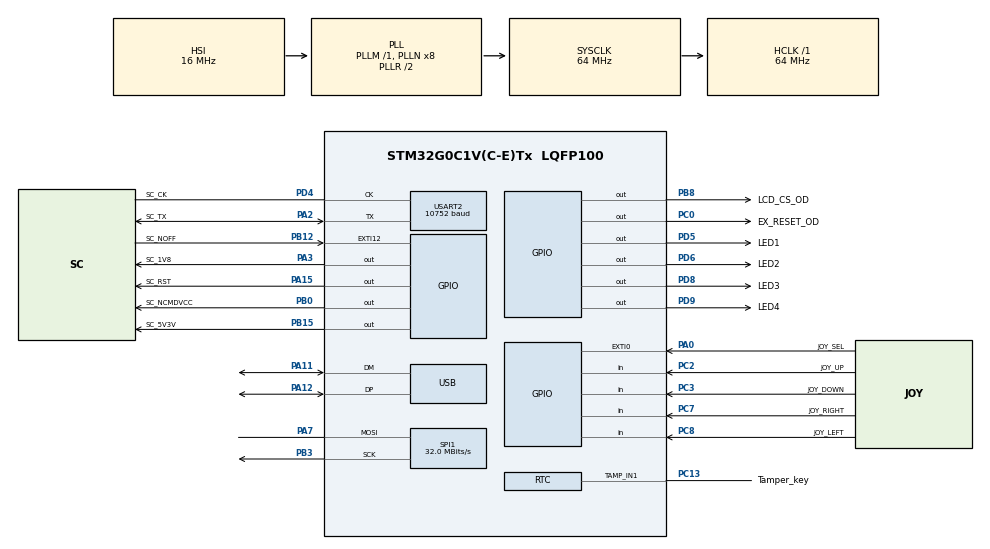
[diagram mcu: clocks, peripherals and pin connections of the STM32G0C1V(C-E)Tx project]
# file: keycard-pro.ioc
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AES.Algorithm=CRYP_AES_CBC
AES.DataType=CRYP_DATATYPE_8B
AES.DataWidthUnit=CRYP_DATAWIDTHUNIT_BYTE
AES.Header=__NULL
AES.HeaderWidthUnit=CRYP_HEADERWIDTHUNIT_BYTE
AES.KeySize=CRYP_KEYSIZE_256B
Mcu.Family=STM32G0
Mcu.Name=STM32G0C1V(C-E)Tx
Mcu.Package=LQFP100
NVIC.EXTI4_15_IRQn=true\:0\:0\:false\:false\:true\:true\:true\:true
NVIC.USART2_LPUART2_IRQn=true\:0\:0\:false\:false\:true\:true\:false\:true
NVIC.USB_UCPD1_2_IRQn=true\:0\:0\:false\:false\:true\:true\:true\:true
PA0.GPIO_Label=JOY_SEL
PA0.Signal=GPXTI0
PA11\ [PA9].Mode=Device
PA11\ [PA9].Signal=USB_DM
PA12\ [PA10].Mode=Device
PA12\ [PA10].Signal=USB_DP
PA13.Mode=Serial_Wire
PA13.Signal=SYS_SWDIO
PA14-BOOT0.Mode=Serial_Wire
PA14-BOOT0.Signal=SYS_SWCLK
PA15.GPIO_Label=SC_RST
PA15.GPIO_Speed=GPIO_SPEED_FREQ_HIGH
PA15.PinState=GPIO_PIN_SET
PA15.Signal=GPIO_Output
PA2.GPIO_Label=SC_TX
PA2.GPIO_Speed=GPIO_SPEED_FREQ_HIGH
PA2.Mode=SmartCard_With_Clock
PA2.Signal=USART2_TX
PA3.GPIO_Label=SC_1V8
PA3.GPIO_Speed=GPIO_SPEED_FREQ_MEDIUM
PA3.Signal=GPIO_Output
PA7.Mode=Simplex_Bidirectional_Master
PA7.Signal=SPI1_MOSI
PB0.GPIO_Label=SC_NCMDVCC
PB0.GPIO_Speed=GPIO_SPEED_FREQ_MEDIUM
PB0.PinState=GPIO_PIN_SET
PB0.Signal=GPIO_Output
PB12.GPIO_Label=SC_NOFF
PB12.GPIO_ModeDefaultEXTI=GPIO_MODE_IT_RISING_FALLING
PB12.Signal=GPXTI12
PB15.GPIO_Label=SC_5V3V
PB15.GPIO_Speed=GPIO_SPEED_FREQ_MEDIUM
PB15.PinState=GPIO_PIN_SET
PB15.Signal=GPIO_Output
PB3.Mode=Simplex_Bidirectional_Master
PB3.Signal=SPI1_SCK
PB8.GPIO_Label=LCD_CS_OD
PB8.GPIO_ModeDefaultOutputPP=GPIO_MODE_OUTPUT_OD
PB8.Signal=GPIO_Output
PC0.GPIO_Label=EX_RESET_OD
PC0.GPIO_ModeDefaultOutputPP=GPIO_MODE_OUTPUT_OD
PC0.Signal=GPIO_Output
PC13.GPIO_Label=Tamper_key
PC13.Mode=Tamper 1 enabled
PC13.Signal=RTC_TAMP_IN1
PC14-OSC32_IN\ (PC14).Mode=LSE-External-Oscillator
PC14-OSC32_IN\ (PC14).Signal=RCC_OSC32_IN
PC15-OSC32_OUT\ (PC15).Mode=LSE-External-Oscillator
PC15-OSC32_OUT\ (PC15).Signal=RCC_OSC32_OUT
PC2.GPIO_Label=JOY_UP
PC2.Signal=GPIO_Input
PC3.GPIO_Label=JOY_DOWN
PC3.Signal=GPIO_Input
PC7.GPIO_Label=JOY_RIGHT
PC7.Signal=GPIO_Input
PC8.GPIO_Label=JOY_LEFT
PC8.Signal=GPIO_Input
PD4.GPIO_Label=SC_CK
PD4.GPIO_Speed=GPIO_SPEED_FREQ_HIGH
PD4.Mode=SmartCard_With_Clock
PD4.Signal=USART2_CK
PD5.GPIO_Label=LED1
PD5.Signal=GPIO_Output
PD6.GPIO_Label=LED2
PD6.Signal=GPIO_Output
PD8.GPIO_Label=LED3
PD8.Signal=GPIO_Output
PD9.GPIO_Label=LED4
PD9.Signal=GPIO_Output
PF0-OSC_IN\ (PF0).Mode=HSE-External-Oscillator
PF0-OSC_IN\ (PF0).Signal=RCC_OSC_IN
PF1-OSC_OUT\ (PF1).Mode=HSE-External-Oscillator
PF1-OSC_OUT\ (PF1).Signal=RCC_OSC_OUT
ProjectManager.HeapSize=0x200
ProjectManager.StackSize=0x400
ProjectManager.TargetToolchain=Makefile
RCC.ADCFreq_Value=64000000
RCC.AHBFreq_Value=64000000
RCC.CortexFreq_Value=64000000
RCC.EXTERNAL_CLOCK_VALUE=48000
RCC.HCLKFreq_Value=64000000
RCC.HSE_VALUE=8000000
RCC.HSI48_VALUE=48000000
RCC.HSI_VALUE=16000000
RCC.SYSCLKFreq_VALUE=64000000
RCC.SYSCLKSource=RCC_SYSCLKSOURCE_PLLCLK
RCC.USBFreq_Value=48000000
RCC.VCOOutputFreq_Value=128000000
SPI1.CalculateBaudRate=32.0 MBits/s
SPI1.Direction=SPI_DIRECTION_1LINE
SPI1.Mode=SPI_MODE_MASTER
SPI1.VirtualType=VM_MASTER
TIM6.AutoReloadPreload=TIM_AUTORELOAD_PRELOAD_ENABLE
TIM6.Prescaler=(HAL_RCC_GetHCLKFreq() / 1000000)
USART2.AutoRetryCount=3
USART2.BaudRate=10752
USART2.CLKLastBit=SMARTCARD_LASTBIT_ENABLE
USART2.DMADisableonRxErrorParam=ADVFEATURE_DMA_ENABLEONRXERROR
USART2.GuardTime=0
USART2.NACKState=SMARTCARD_NACK_ENABLE
USART2.OneBitSampling=SMARTCARD_ONE_BIT_SAMPLE_DISABLE
USART2.OverrunDisableParam=ADVFEATURE_OVERRUN_DISABLE
USART2.Prescaler=8
USART2.StopBits=STOPBITS_1_5
USART2.TimeOutEnable=SMARTCARD_TIMEOUT_ENABLE
USART2.TimeOutValue=9600
USART2.VirtualClockMode=VM_SMARTCARD
USART2.VirtualMode-SmartCard_With_Clock=VM_SMARTCARD
USB_DEVICE.CLASS_NAME_FS=CUSTOM_HID
USB_DEVICE.CONFIGURATION_STRING_CUSTOMHID_FS=Keycard Pro Conf
USB_DEVICE.CUSTOM_HID_FS_BINTERVAL=20
USB_DEVICE.INTERFACE_STRING_CUSTOMHID_FS=Keycard Pro IF
USB_DEVICE.MANUFACTURER_STRING=Status
USB_DEVICE.PRODUCT_STRING_CUSTOMHID_FS=Keycard Pro
USB_DEVICE.USBD_CUSTOMHID_OUTREPORT_BUF_SIZE=64
USB_DEVICE.USBD_CUSTOM_HID_REPORT_DESC_SIZE=64
USB_DEVICE.USBD_MAX_STR_DESC_SIZ=128
USB_DEVICE.USBD_SELF_POWERED=0
USB_DEVICE.VirtualMode=CustomHid
USB_DEVICE.VirtualModeFS=Custom_Hid_FS
VP_AES_VS_AES.Mode=AES_Activate
VP_RNG_VS_RNG.Mode=RNG_Activate
VP_RTC_VS_RTC_Activate.Mode=RTC_Enabled
VP_SYS_VS_DBSignals.Mode=DisableDeadBatterySignals
VP_TIM6_VS_ClockSourceINT.Mode=Enable_Timer
VP_USB_DEVICE_VS_USB_DEVICE_CUSTOM_HID_FS.Mode=CUSTOM_HID_FS
board=STM32G0C1E-EV

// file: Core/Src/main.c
/* USER CODE BEGIN Header */
/**
  ******************************************************************************
  * @file           : main.c
  * @brief          : Main program body
  ******************************************************************************
  * @attention
  *
  * Copyright (c) 2022 STMicroelectronics.
  * All rights reserved.
  *
  * This software is licensed under terms that can be found in the LICENSE file
  * in the root directory of this software component.
  * If no LICENSE file comes with this software, it is provided AS-IS.
  *
  ******************************************************************************
  */
/* USER CODE END Header */
#include "main.h"
#include "usb_device.h"

/* USER CODE BEGIN Includes */
#include "ui.h"
#include "keycard.h"
#include "command.h"
#include "crypto/aes.h"
#include "usbd_custom_hid_if.h"
/* USER CODE END Includes */

CRYP_HandleTypeDef hcryp;
__ALIGN_BEGIN static const uint32_t pKeyAES[8] __ALIGN_END = {
                            0x00000000,0x00000000,0x00000000,0x00000000,0x00000000,0x00000000,0x00000000,0x00000000};
__ALIGN_BEGIN static const uint32_t pInitVectAES[4] __ALIGN_END = {
                            0x00000000,0x00000000,0x00000000,0x00000000};

RNG_HandleTypeDef hrng;

RTC_HandleTypeDef hrtc;

SPI_HandleTypeDef hspi1;

TIM_HandleTypeDef htim6;

SMARTCARD_HandleTypeDef hsmartcard2;

/* USER CODE BEGIN PV */
Keycard kc;
Command cmd;
/* USER CODE END PV */

void SystemClock_Config(void);
static void MX_GPIO_Init(void);
static void MX_AES_Init(void);
static void MX_RNG_Init(void);
static void MX_USART2_SMARTCARD_Init(void);
static void MX_RTC_Init(void);
static void MX_SPI1_Init(void);
static void MX_TIM6_Init(void);

int main(void)
{

  /* MCU Configuration--------------------------------------------------------*/

  /* Reset of all peripherals, Initializes the Flash interface and the Systick. */
  HAL_Init();

  /* Configure the system clock */
  SystemClock_Config();

  /* Initialize all configured peripherals */
  MX_GPIO_Init();
  MX_AES_Init();
  MX_RNG_Init();
  MX_USART2_SMARTCARD_Init();
  MX_RTC_Init();
  MX_SPI1_Init();
  MX_TIM6_Init();
  MX_USB_Device_Init();
  /* USER CODE BEGIN 2 */
  aes_init(&hcryp);
  CUSTOM_HID_Set_Command(&cmd);
  Keycard_Init(&kc, &hsmartcard2, &htim6);
  UI_Init();
  /* USER CODE END 2 */

  /* Infinite loop */
  /* USER CODE BEGIN WHILE */
  while (1)
  {
    Keycard_Run(&kc, &cmd);
    CUSTOM_HID_Send_Response();
    /* USER CODE END WHILE */

  }
}

void SystemClock_Config(void)
{
  RCC_OscInitTypeDef RCC_OscInitStruct = {0};
  RCC_ClkInitTypeDef RCC_ClkInitStruct = {0};

  /** Configure the main internal regulator output voltage
  */
  HAL_PWREx_ControlVoltageScaling(PWR_REGULATOR_VOLTAGE_SCALE1);

  /** Initializes the RCC Oscillators according to the specified parameters
  * in the RCC_OscInitTypeDef structure.
  */
  RCC_OscInitStruct.OscillatorType = RCC_OSCILLATORTYPE_HSI|RCC_OSCILLATORTYPE_LSI
                              |RCC_OSCILLATORTYPE_HSI48;
  RCC_OscInitStruct.HSIState = RCC_HSI_ON;
  RCC_OscInitStruct.HSI48State = RCC_HSI48_ON;
  RCC_OscInitStruct.HSIDiv = RCC_HSI_DIV1;
  RCC_OscInitStruct.HSICalibrationValue = RCC_HSICALIBRATION_DEFAULT;
  RCC_OscInitStruct.LSIState = RCC_LSI_ON;
  RCC_OscInitStruct.PLL.PLLState = RCC_PLL_ON;
  RCC_OscInitStruct.PLL.PLLSource = RCC_PLLSOURCE_HSI;
  RCC_OscInitStruct.PLL.PLLM = RCC_PLLM_DIV1;
  RCC_OscInitStruct.PLL.PLLN = 8;
  RCC_OscInitStruct.PLL.PLLP = RCC_PLLP_DIV2;
  RCC_OscInitStruct.PLL.PLLQ = RCC_PLLQ_DIV2;
  RCC_OscInitStruct.PLL.PLLR = RCC_PLLR_DIV2;
  if (HAL_RCC_OscConfig(&RCC_OscInitStruct) != HAL_OK)
  {
    Error_Handler();
  }

  /** Initializes the CPU, AHB and APB buses clocks
  */
  RCC_ClkInitStruct.ClockType = RCC_CLOCKTYPE_HCLK|RCC_CLOCKTYPE_SYSCLK
                              |RCC_CLOCKTYPE_PCLK1;
  RCC_ClkInitStruct.SYSCLKSource = RCC_SYSCLKSOURCE_PLLCLK;
  RCC_ClkInitStruct.AHBCLKDivider = RCC_SYSCLK_DIV1;
  RCC_ClkInitStruct.APB1CLKDivider = RCC_HCLK_DIV1;

  if (HAL_RCC_ClockConfig(&RCC_ClkInitStruct, FLASH_LATENCY_2) != HAL_OK)
  {
    Error_Handler();
  }
}

static void MX_AES_Init(void)
{

  hcryp.Instance = AES;
  hcryp.Init.DataType = CRYP_DATATYPE_8B;
  hcryp.Init.KeySize = CRYP_KEYSIZE_256B;
  hcryp.Init.pKey = (uint32_t *)pKeyAES;
  hcryp.Init.pInitVect = (uint32_t *)pInitVectAES;
  hcryp.Init.Algorithm = CRYP_AES_CBC;
  hcryp.Init.DataWidthUnit = CRYP_DATAWIDTHUNIT_BYTE;
  hcryp.Init.HeaderWidthUnit = CRYP_HEADERWIDTHUNIT_BYTE;
  hcryp.Init.KeyIVConfigSkip = CRYP_KEYIVCONFIG_ALWAYS;
  if (HAL_CRYP_Init(&hcryp) != HAL_OK)
  {
    Error_Handler();
  }

}

static void MX_RNG_Init(void)
{

  hrng.Instance = RNG;
  hrng.Init.ClockErrorDetection = RNG_CED_ENABLE;
  if (HAL_RNG_Init(&hrng) != HAL_OK)
  {
    Error_Handler();
  }

}

static void MX_RTC_Init(void)
{

  RTC_TamperTypeDef sTamper = {0};

  /** Initialize RTC Only
  */
  hrtc.Instance = RTC;
  hrtc.Init.HourFormat = RTC_HOURFORMAT_24;
  hrtc.Init.AsynchPrediv = 127;
  hrtc.Init.SynchPrediv = 255;
  hrtc.Init.OutPut = RTC_OUTPUT_DISABLE;
  hrtc.Init.OutPutRemap = RTC_OUTPUT_REMAP_NONE;
  hrtc.Init.OutPutPolarity = RTC_OUTPUT_POLARITY_HIGH;
  hrtc.Init.OutPutType = RTC_OUTPUT_TYPE_OPENDRAIN;
  hrtc.Init.OutPutPullUp = RTC_OUTPUT_PULLUP_NONE;
  if (HAL_RTC_Init(&hrtc) != HAL_OK)
  {
    Error_Handler();
  }

  /** Enable the RTC Tamper 1
  */
  sTamper.Tamper = RTC_TAMPER_1;
  sTamper.Trigger = RTC_TAMPERTRIGGER_RISINGEDGE;
  sTamper.NoErase = RTC_TAMPER_ERASE_BACKUP_ENABLE;
  sTamper.MaskFlag = RTC_TAMPERMASK_FLAG_DISABLE;
  sTamper.Filter = RTC_TAMPERFILTER_DISABLE;
  sTamper.SamplingFrequency = RTC_TAMPERSAMPLINGFREQ_RTCCLK_DIV32768;
  sTamper.PrechargeDuration = RTC_TAMPERPRECHARGEDURATION_1RTCCLK;
  sTamper.TamperPullUp = RTC_TAMPER_PULLUP_ENABLE;
  sTamper.TimeStampOnTamperDetection = RTC_TIMESTAMPONTAMPERDETECTION_ENABLE;
  if (HAL_RTCEx_SetTamper(&hrtc, &sTamper) != HAL_OK)
  {
    Error_Handler();
  }

}

static void MX_SPI1_Init(void)
{

  /* SPI1 parameter configuration*/
  hspi1.Instance = SPI1;
  hspi1.Init.Mode = SPI_MODE_MASTER;
  hspi1.Init.Direction = SPI_DIRECTION_1LINE;
  hspi1.Init.DataSize = SPI_DATASIZE_8BIT;
  hspi1.Init.CLKPolarity = SPI_POLARITY_LOW;
  hspi1.Init.CLKPhase = SPI_PHASE_1EDGE;
  hspi1.Init.NSS = SPI_NSS_SOFT;
  hspi1.Init.BaudRatePrescaler = SPI_BAUDRATEPRESCALER_2;
  hspi1.Init.FirstBit = SPI_FIRSTBIT_MSB;
  hspi1.Init.TIMode = SPI_TIMODE_DISABLE;
  hspi1.Init.CRCCalculation = SPI_CRCCALCULATION_DISABLE;
  hspi1.Init.CRCPolynomial = 7;
  hspi1.Init.CRCLength = SPI_CRC_LENGTH_DATASIZE;
  hspi1.Init.NSSPMode = SPI_NSS_PULSE_ENABLE;
  if (HAL_SPI_Init(&hspi1) != HAL_OK)
  {
    Error_Handler();
  }

}

static void MX_TIM6_Init(void)
{

  TIM_MasterConfigTypeDef sMasterConfig = {0};

  htim6.Instance = TIM6;
  htim6.Init.Prescaler = (HAL_RCC_GetHCLKFreq() / 1000000);
  htim6.Init.CounterMode = TIM_COUNTERMODE_UP;
  htim6.Init.Period = 65535;
  htim6.Init.AutoReloadPreload = TIM_AUTORELOAD_PRELOAD_ENABLE;
  if (HAL_TIM_Base_Init(&htim6) != HAL_OK)
  {
    Error_Handler();
  }
  sMasterConfig.MasterOutputTrigger = TIM_TRGO_RESET;
  sMasterConfig.MasterSlaveMode = TIM_MASTERSLAVEMODE_DISABLE;
  if (HAL_TIMEx_MasterConfigSynchronization(&htim6, &sMasterConfig) != HAL_OK)
  {
    Error_Handler();
  }
  /* USER CODE BEGIN TIM6_Init 2 */
  HAL_TIM_Base_Start(&htim6);
  /* USER CODE END TIM6_Init 2 */

}

static void MX_USART2_SMARTCARD_Init(void)
{

  /* USER CODE BEGIN USART2_Init 1 */
  hsmartcard2.Init.Parity = SMARTCARD_PARITY_EVEN;
  /* USER CODE END USART2_Init 1 */
  hsmartcard2.Instance = USART2;
  hsmartcard2.Init.BaudRate = 10752;
  hsmartcard2.Init.WordLength = SMARTCARD_WORDLENGTH_9B;
  hsmartcard2.Init.StopBits = SMARTCARD_STOPBITS_1_5;
  hsmartcard2.Init.Mode = SMARTCARD_MODE_TX_RX;
  hsmartcard2.Init.CLKPolarity = SMARTCARD_POLARITY_LOW;
  hsmartcard2.Init.CLKPhase = SMARTCARD_PHASE_1EDGE;
  hsmartcard2.Init.CLKLastBit = SMARTCARD_LASTBIT_ENABLE;
  hsmartcard2.Init.OneBitSampling = SMARTCARD_ONE_BIT_SAMPLE_DISABLE;
  hsmartcard2.Init.Prescaler = 8;
  hsmartcard2.Init.GuardTime = 0;
  hsmartcard2.Init.NACKEnable = SMARTCARD_NACK_ENABLE;
  hsmartcard2.Init.TimeOutEnable = SMARTCARD_TIMEOUT_ENABLE;
  hsmartcard2.Init.TimeOutValue = 9600;
  hsmartcard2.Init.BlockLength = 0;
  hsmartcard2.Init.AutoRetryCount = 3;
  hsmartcard2.Init.ClockPrescaler = SMARTCARD_PRESCALER_DIV1;
  hsmartcard2.AdvancedInit.AdvFeatureInit = SMARTCARD_ADVFEATURE_RXOVERRUNDISABLE_INIT;
  hsmartcard2.AdvancedInit.OverrunDisable = SMARTCARD_ADVFEATURE_OVERRUN_DISABLE;
  if (HAL_SMARTCARD_Init(&hsmartcard2) != HAL_OK)
  {
    Error_Handler();
  }
  if (HAL_SMARTCARDEx_SetTxFifoThreshold(&hsmartcard2, SMARTCARD_TXFIFO_THRESHOLD_1_8) != HAL_OK)
  {
    Error_Handler();
  }
  if (HAL_SMARTCARDEx_SetRxFifoThreshold(&hsmartcard2, SMARTCARD_RXFIFO_THRESHOLD_1_8) != HAL_OK)
  {
    Error_Handler();
  }
  if (HAL_SMARTCARDEx_DisableFifoMode(&hsmartcard2) != HAL_OK)
  {
    Error_Handler();
  }

}

static void MX_GPIO_Init(void)
{
  GPIO_InitTypeDef GPIO_InitStruct = {0};

  /* GPIO Ports Clock Enable */
  __HAL_RCC_GPIOB_CLK_ENABLE();
  __HAL_RCC_GPIOC_CLK_ENABLE();
  __HAL_RCC_GPIOE_CLK_ENABLE();
  __HAL_RCC_GPIOF_CLK_ENABLE();
  __HAL_RCC_GPIOA_CLK_ENABLE();
  __HAL_RCC_GPIOD_CLK_ENABLE();

  /*Configure GPIO pin Output Level */
  HAL_GPIO_WritePin(EX_RESET_OD_GPIO_Port, EX_RESET_OD_Pin, GPIO_PIN_RESET);

  /*Configure GPIO pin Output Level */
  HAL_GPIO_WritePin(SC_1V8_GPIO_Port, SC_1V8_Pin, GPIO_PIN_RESET);

  /*Configure GPIO pin Output Level */
  HAL_GPIO_WritePin(GPIOB, SC_NCMDVCC_Pin|SC_5V3V_Pin, GPIO_PIN_SET);

  /*Configure GPIO pin Output Level */
  HAL_GPIO_WritePin(GPIOD, LED3_Pin|LED4_Pin|LED1_Pin|LED2_Pin, GPIO_PIN_RESET);

  /*Configure GPIO pin Output Level */
  HAL_GPIO_WritePin(SC_RST_GPIO_Port, SC_RST_Pin, GPIO_PIN_SET);

  /*Configure GPIO pin Output Level */
  HAL_GPIO_WritePin(LCD_CS_OD_GPIO_Port, LCD_CS_OD_Pin, GPIO_PIN_RESET);

  /*Configure GPIO pins : PB9 PB1 PB2 PB10
                           PB11 PB13 PB14 PB4
                           PB5 PB6 PB7 */
  GPIO_InitStruct.Pin = GPIO_PIN_9|GPIO_PIN_1|GPIO_PIN_2|GPIO_PIN_10
                          |GPIO_PIN_11|GPIO_PIN_13|GPIO_PIN_14|GPIO_PIN_4
                          |GPIO_PIN_5|GPIO_PIN_6|GPIO_PIN_7;
  GPIO_InitStruct.Mode = GPIO_MODE_ANALOG;
  GPIO_InitStruct.Pull = GPIO_NOPULL;
  HAL_GPIO_Init(GPIOB, &GPIO_InitStruct);

  /*Configure GPIO pins : PC10 PC11 PC12 PC1
                           PC4 PC5 PC6 PC9 */
  GPIO_InitStruct.Pin = GPIO_PIN_10|GPIO_PIN_11|GPIO_PIN_12|GPIO_PIN_1
                          |GPIO_PIN_4|GPIO_PIN_5|GPIO_PIN_6|GPIO_PIN_9;
  GPIO_InitStruct.Mode = GPIO_MODE_ANALOG;
  GPIO_InitStruct.Pull = GPIO_NOPULL;
  HAL_GPIO_Init(GPIOC, &GPIO_InitStruct);

  /*Configure GPIO pins : PE4 PE5 PE6 PE7
                           PE8 PE9 PE10 PE11
                           PE12 PE13 PE14 PE15
                           PE0 PE1 PE2 PE3 */
  GPIO_InitStruct.Pin = GPIO_PIN_4|GPIO_PIN_5|GPIO_PIN_6|GPIO_PIN_7
                          |GPIO_PIN_8|GPIO_PIN_9|GPIO_PIN_10|GPIO_PIN_11
                          |GPIO_PIN_12|GPIO_PIN_13|GPIO_PIN_14|GPIO_PIN_15
                          |GPIO_PIN_0|GPIO_PIN_1|GPIO_PIN_2|GPIO_PIN_3;
  GPIO_InitStruct.Mode = GPIO_MODE_ANALOG;
  GPIO_InitStruct.Pull = GPIO_NOPULL;
  HAL_GPIO_Init(GPIOE, &GPIO_InitStruct);

  /*Configure GPIO pins : PF2 PF3 PF4 PF5
                           PF6 PF7 PF8 PF9
                           PF10 PF11 PF12 PF13 */
  GPIO_InitStruct.Pin = GPIO_PIN_2|GPIO_PIN_3|GPIO_PIN_4|GPIO_PIN_5
                          |GPIO_PIN_6|GPIO_PIN_7|GPIO_PIN_8|GPIO_PIN_9
                          |GPIO_PIN_10|GPIO_PIN_11|GPIO_PIN_12|GPIO_PIN_13;
  GPIO_InitStruct.Mode = GPIO_MODE_ANALOG;
  GPIO_InitStruct.Pull = GPIO_NOPULL;
  HAL_GPIO_Init(GPIOF, &GPIO_InitStruct);

  /*Configure GPIO pin : EX_RESET_OD_Pin */
  GPIO_InitStruct.Pin = EX_RESET_OD_Pin;
  GPIO_InitStruct.Mode = GPIO_MODE_OUTPUT_OD;
  GPIO_InitStruct.Pull = GPIO_NOPULL;
  GPIO_InitStruct.Speed = GPIO_SPEED_FREQ_LOW;
  HAL_GPIO_Init(EX_RESET_OD_GPIO_Port, &GPIO_InitStruct);

  /*Configure GPIO pins : JOY_UP_Pin JOY_DOWN_Pin JOY_RIGHT_Pin JOY_LEFT_Pin */
  GPIO_InitStruct.Pin = JOY_UP_Pin|JOY_DOWN_Pin|JOY_RIGHT_Pin|JOY_LEFT_Pin;
  GPIO_InitStruct.Mode = GPIO_MODE_INPUT;
  GPIO_InitStruct.Pull = GPIO_NOPULL;
  HAL_GPIO_Init(GPIOC, &GPIO_InitStruct);

  /*Configure GPIO pin : JOY_SEL_Pin */
  GPIO_InitStruct.Pin = JOY_SEL_Pin;
  GPIO_InitStruct.Mode = GPIO_MODE_IT_RISING;
  GPIO_InitStruct.Pull = GPIO_NOPULL;
  HAL_GPIO_Init(JOY_SEL_GPIO_Port, &GPIO_InitStruct);

  /*Configure GPIO pins : PA1 PA4 PA5 PA6
                           PA8 PA9 PA10 */
  GPIO_InitStruct.Pin = GPIO_PIN_1|GPIO_PIN_4|GPIO_PIN_5|GPIO_PIN_6
                          |GPIO_PIN_8|GPIO_PIN_9|GPIO_PIN_10;
  GPIO_InitStruct.Mode = GPIO_MODE_ANALOG;
  GPIO_InitStruct.Pull = GPIO_NOPULL;
  HAL_GPIO_Init(GPIOA, &GPIO_InitStruct);

  /*Configure GPIO pin : SC_1V8_Pin */
  GPIO_InitStruct.Pin = SC_1V8_Pin;
  GPIO_InitStruct.Mode = GPIO_MODE_OUTPUT_PP;
  GPIO_InitStruct.Pull = GPIO_NOPULL;
  GPIO_InitStruct.Speed = GPIO_SPEED_FREQ_MEDIUM;
  HAL_GPIO_Init(SC_1V8_GPIO_Port, &GPIO_InitStruct);

  /*Configure GPIO pins : SC_NCMDVCC_Pin SC_5V3V_Pin */
  GPIO_InitStruct.Pin = SC_NCMDVCC_Pin|SC_5V3V_Pin;
  GPIO_InitStruct.Mode = GPIO_MODE_OUTPUT_PP;
  GPIO_InitStruct.Pull = GPIO_NOPULL;
  GPIO_InitStruct.Speed = GPIO_SPEED_FREQ_MEDIUM;
  HAL_GPIO_Init(GPIOB, &GPIO_InitStruct);

  /*Configure GPIO pin : SC_NOFF_Pin */
  GPIO_InitStruct.Pin = SC_NOFF_Pin;
  GPIO_InitStruct.Mode = GPIO_MODE_IT_RISING_FALLING;
  GPIO_InitStruct.Pull = GPIO_NOPULL;
  HAL_GPIO_Init(SC_NOFF_GPIO_Port, &GPIO_InitStruct);

  /*Configure GPIO pins : LED3_Pin LED4_Pin LED1_Pin LED2_Pin */
  GPIO_InitStruct.Pin = LED3_Pin|LED4_Pin|LED1_Pin|LED2_Pin;
  GPIO_InitStruct.Mode = GPIO_MODE_OUTPUT_PP;
  GPIO_InitStruct.Pull = GPIO_NOPULL;
  GPIO_InitStruct.Speed = GPIO_SPEED_FREQ_LOW;
  HAL_GPIO_Init(GPIOD, &GPIO_InitStruct);

  /*Configure GPIO pins : PD10 PD11 PD12 PD13
                           PD14 PD15 PD0 PD1
                           PD2 PD3 PD7 */
  GPIO_InitStruct.Pin = GPIO_PIN_10|GPIO_PIN_11|GPIO_PIN_12|GPIO_PIN_13
                          |GPIO_PIN_14|GPIO_PIN_15|GPIO_PIN_0|GPIO_PIN_1
                          |GPIO_PIN_2|GPIO_PIN_3|GPIO_PIN_7;
  GPIO_InitStruct.Mode = GPIO_MODE_ANALOG;
  GPIO_InitStruct.Pull = GPIO_NOPULL;
  HAL_GPIO_Init(GPIOD, &GPIO_InitStruct);

  /*Configure GPIO pin : SC_RST_Pin */
  GPIO_InitStruct.Pin = SC_RST_Pin;
  GPIO_InitStruct.Mode = GPIO_MODE_OUTPUT_PP;
  GPIO_InitStruct.Pull = GPIO_NOPULL;
  GPIO_InitStruct.Speed = GPIO_SPEED_FREQ_HIGH;
  HAL_GPIO_Init(SC_RST_GPIO_Port, &GPIO_InitStruct);

  /*Configure GPIO pin : LCD_CS_OD_Pin */
  GPIO_InitStruct.Pin = LCD_CS_OD_Pin;
  GPIO_InitStruct.Mode = GPIO_MODE_OUTPUT_OD;
  GPIO_InitStruct.Pull = GPIO_NOPULL;
  GPIO_InitStruct.Speed = GPIO_SPEED_FREQ_LOW;
  HAL_GPIO_Init(LCD_CS_OD_GPIO_Port, &GPIO_InitStruct);

  /* EXTI interrupt init*/
  HAL_NVIC_SetPriority(EXTI4_15_IRQn, 0, 0);
  HAL_NVIC_EnableIRQ(EXTI4_15_IRQn);

}

/* USER CODE BEGIN 4 */
/**
  * @brief  EXTI line detection callback.
  * @param  GPIO_Pin Specifies the port pin connected to corresponding EXTI line.
  * @retval None
  */
void HAL_GPIO_EXTI_Rising_Callback(uint16_t GPIO_Pin)
{
  if (GPIO_Pin == SC_NOFF_Pin) {
    Keycard_In(&kc);
  }
}

/**
  * @brief  EXTI line detection callback.
  * @param  GPIO_Pin Specifies the port pin connected to corresponding EXTI line.
  * @retval None
  */
void HAL_GPIO_EXTI_Falling_Callback(uint16_t GPIO_Pin)
{
  if (GPIO_Pin == SC_NOFF_Pin) {
    Keycard_Out(&kc);
  }
}

uint32_t random32(void) {
  uint32_t rnd;
  while (HAL_RNG_GenerateRandomNumber(&hrng, &rnd) != HAL_OK) {}

  return rnd;
}

/* USER CODE END 4 */

void Error_Handler(void)
{
  /* USER CODE BEGIN Error_Handler_Debug */
  /* User can add his own implementation to report the HAL error return state */
  __disable_irq();
  HAL_GPIO_WritePin(SC_NCMDVCC_GPIO_Port, SC_NCMDVCC_Pin, GPIO_PIN_SET);
  HAL_GPIO_WritePin(SC_RST_GPIO_Port, SC_RST_Pin, GPIO_PIN_SET);

  while (1)
  {
    UI_Fatal();
  }
  /* USER CODE END Error_Handler_Debug */
}
